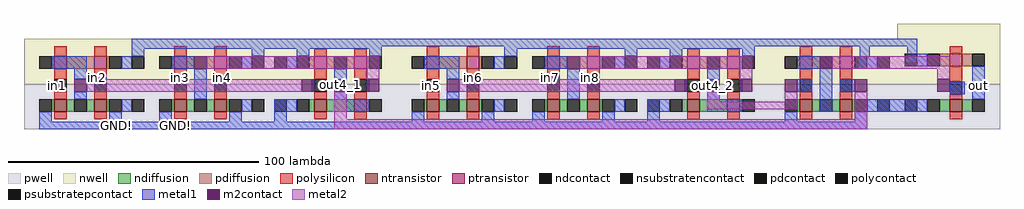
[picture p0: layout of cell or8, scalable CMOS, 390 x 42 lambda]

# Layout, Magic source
magic
tech scmos
<< nwell >>
rect -17 17 332 20
rect -17 15 281 17
rect -17 2 80 15
rect 132 2 229 15
rect 317 8 321 17
<< pwell >>
rect -17 -13 80 2
rect 83 -13 88 -4
rect 132 -12 229 2
rect 101 -13 229 -12
rect 232 -13 237 -4
rect 250 -13 281 -12
rect -17 -16 289 -13
<< ntransistor >>
rect -5 -9 0 -4
rect 11 -9 16 -4
rect 43 -9 48 -4
rect 59 -9 64 -4
rect 144 -9 149 -4
rect 160 -9 165 -4
rect 192 -9 197 -4
rect 208 -9 213 -4
<< ptransistor >>
rect -5 8 0 13
rect 11 8 16 13
rect 43 8 48 13
rect 59 8 64 13
rect 144 8 149 13
rect 160 8 165 13
rect 192 8 197 13
rect 208 8 213 13
<< ndiffusion >>
rect -6 -9 -5 -4
rect 0 -9 3 -4
rect 8 -9 11 -4
rect 16 -9 17 -4
rect 42 -9 43 -4
rect 48 -9 51 -4
rect 56 -9 59 -4
rect 64 -9 65 -4
rect 143 -9 144 -4
rect 149 -9 152 -4
rect 157 -9 160 -4
rect 165 -9 166 -4
rect 191 -9 192 -4
rect 197 -9 200 -4
rect 205 -9 208 -4
rect 213 -9 214 -4
<< pdiffusion >>
rect -6 8 -5 13
rect 0 8 11 13
rect 16 8 17 13
rect 42 8 43 13
rect 48 8 59 13
rect 64 8 65 13
rect 143 8 144 13
rect 149 8 160 13
rect 165 8 166 13
rect 191 8 192 13
rect 197 8 208 13
rect 213 8 214 13
<< ndcontact >>
rect -11 -9 -6 -4
rect 3 -9 8 -4
rect 17 -9 22 -4
rect 37 -9 42 -4
rect 51 -9 56 -4
rect 65 -9 70 -4
rect 138 -9 143 -4
rect 152 -9 157 -4
rect 166 -9 171 -4
rect 186 -9 191 -4
rect 200 -9 205 -4
rect 214 -9 219 -4
<< pdcontact >>
rect -11 8 -6 13
rect 17 8 22 13
rect 37 8 42 13
rect 65 8 70 13
rect 138 8 143 13
rect 166 8 171 13
rect 186 8 191 13
rect 214 8 219 13
<< psubstratepcontact >>
rect 26 -9 31 -4
rect 74 -9 79 -4
rect 175 -9 180 -4
rect 223 -9 228 -4
<< nsubstratencontact >>
rect 26 8 31 13
rect 74 8 79 13
rect 175 8 180 13
rect 223 8 228 13
<< polysilicon >>
rect -5 13 0 17
rect 11 13 16 17
rect 43 13 48 17
rect 59 13 64 17
rect 144 13 149 17
rect 160 13 165 17
rect 192 13 197 17
rect 208 13 213 17
rect -5 4 0 8
rect -5 -4 0 -1
rect 11 4 16 8
rect 11 -4 16 -1
rect 43 4 48 8
rect 43 -4 48 -1
rect 59 4 64 8
rect 59 -4 64 -1
rect 144 4 149 8
rect 144 -4 149 -1
rect 160 4 165 8
rect 160 -4 165 -1
rect 192 4 197 8
rect 192 -4 197 -1
rect 208 4 213 8
rect 208 -4 213 -1
rect -5 -12 0 -9
rect 11 -12 16 -9
rect 43 -12 48 -9
rect 59 -12 64 -9
rect 144 -12 149 -9
rect 160 -12 165 -9
rect 192 -12 197 -9
rect 208 -12 213 -9
<< polycontact >>
rect -5 -1 0 4
rect 11 -1 16 4
rect 43 -1 48 4
rect 59 -1 64 4
rect 144 -1 149 4
rect 160 -1 165 4
rect 192 -1 197 4
rect 208 -1 213 4
<< metal1 >>
rect 26 17 340 20
rect 26 16 96 17
rect 175 16 245 17
rect 26 13 31 16
rect 74 13 79 16
rect 175 13 180 16
rect 223 13 228 16
rect -6 8 8 13
rect 22 8 26 13
rect 42 8 51 13
rect 70 8 74 13
rect 143 8 157 13
rect 171 8 175 13
rect 191 8 200 13
rect 219 8 223 13
rect 317 8 321 17
rect 336 11 340 17
rect 3 4 8 8
rect 11 4 16 5
rect 43 4 48 5
rect 3 -4 8 -1
rect 51 -4 56 8
rect 59 4 64 5
rect 152 4 157 8
rect 160 4 165 5
rect 192 4 197 5
rect 152 -4 157 -1
rect 200 -4 205 8
rect 208 4 213 5
rect 292 -1 298 4
rect 302 0 305 3
rect 309 -1 315 4
rect 353 -2 358 3
rect 363 -1 366 4
rect 22 -9 26 -4
rect 70 -9 74 -4
rect -11 -13 -6 -9
rect 17 -13 22 -9
rect 37 -13 42 -9
rect 65 -13 70 -9
rect 83 -13 88 -4
rect 171 -9 175 -4
rect 219 -9 223 -4
rect 138 -13 143 -9
rect 166 -13 171 -9
rect 186 -13 191 -9
rect 214 -13 219 -9
rect 232 -13 237 -4
rect 301 -9 306 -4
rect 324 -9 342 -4
rect -11 -16 289 -13
<< m2contact >>
rect 51 8 56 13
rect 200 8 205 13
rect 301 8 306 13
rect 3 -1 8 4
rect 94 -1 99 4
rect 107 -1 112 4
rect 120 -1 125 4
rect 152 -1 157 4
rect 243 -1 248 4
rect 256 -1 261 4
rect 269 -1 274 4
rect 287 -1 292 4
rect 315 -1 320 4
rect 348 -1 353 4
<< metal2 >>
rect 56 8 125 13
rect 205 8 274 13
rect 306 8 353 13
rect 120 4 125 8
rect 269 4 274 8
rect 348 4 353 8
rect 8 -1 94 4
rect 157 -1 243 4
rect 107 -12 112 -1
rect 256 -5 261 -1
rect 287 -5 292 -1
rect 256 -8 292 -5
rect 315 -12 320 -1
rect 107 -16 320 -12
use inv  inv_0 ../inv
transform 1 0 355 0 1 4
box -23 -20 18 22
use nand2  nand2_0 ../nand2
transform 1 0 104 0 1 4
box -24 -19 28 15
use nand2  nand2_1
transform 1 0 253 0 1 4
box -24 -19 28 15
use nor2  nor2_0 ../nor2
transform 1 0 298 0 1 4
box -17 -20 34 15
<< labels >>
rlabel polycontact -4 1 -3 2 1 in1
rlabel metal1 12 4 13 5 1 in2
rlabel metal1 45 4 46 5 1 in3
rlabel metal1 62 4 63 5 1 in4
rlabel polycontact 146 1 146 2 1 in5
rlabel metal1 162 4 163 5 1 in6
rlabel metal1 193 4 194 5 1 in7
rlabel metal1 209 4 210 5 1 in8
rlabel metal1 19 -15 21 -14 1 GND!
rlabel metal1 43 -15 44 -14 1 GND!
rlabel m2contact 109 1 110 3 1 out4_1
rlabel m2contact 257 1 259 2 1 out4_2
rlabel metal1 364 1 365 2 1 out
<< end >>

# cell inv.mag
magic
tech scmos
<< nwell >>
rect -23 -2 18 22
<< pwell >>
rect -23 -20 18 -2
<< ntransistor >>
rect -2 -13 3 -8
<< ptransistor >>
rect -2 5 3 10
<< ndiffusion >>
rect -6 -13 -2 -8
rect 3 -13 7 -8
<< pdiffusion >>
rect -6 5 -2 10
rect 3 5 7 10
<< ndcontact >>
rect -11 -13 -6 -8
rect 7 -13 12 -8
<< pdcontact >>
rect -11 5 -6 10
rect 7 5 12 10
<< psubstratepcontact >>
rect -20 -13 -15 -8
<< nsubstratencontact >>
rect -20 5 -15 10
<< polysilicon >>
rect -2 10 3 13
rect -2 -1 3 5
rect -2 -8 3 -6
rect -2 -16 3 -13
<< polycontact >>
rect -2 -6 3 -1
<< metal1 >>
rect -15 5 -11 10
rect 3 -6 4 -1
rect 7 -8 12 5
rect -15 -13 -11 -8
<< labels >>
rlabel polycontact 0 -4 1 -3 1 in
rlabel metal1 9 -4 10 -3 1 out
rlabel nsubstratencontact -18 7 -17 8 1 Vdd!
rlabel psubstratepcontact -18 -11 -17 -10 1 GND!
<< end >>

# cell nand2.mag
magic
tech scmos
<< nwell >>
rect -24 -2 28 15
<< pwell >>
rect -24 -19 28 -2
<< ntransistor >>
rect -5 -13 0 -8
rect 11 -13 16 -8
<< ptransistor >>
rect -5 4 0 9
rect 11 4 16 9
<< ndiffusion >>
rect -7 -13 -5 -8
rect 0 -13 11 -8
rect 16 -13 17 -8
<< pdiffusion >>
rect -7 4 -5 9
rect 0 4 3 9
rect 8 4 11 9
rect 16 4 17 9
<< ndcontact >>
rect -12 -13 -7 -8
rect 17 -13 22 -8
<< pdcontact >>
rect -12 4 -7 9
rect 3 4 8 9
rect 17 4 22 9
<< psubstratepcontact >>
rect -21 -13 -16 -8
<< nsubstratencontact >>
rect -21 4 -16 9
<< polysilicon >>
rect -5 9 0 12
rect 11 9 16 12
rect -5 0 0 4
rect -5 -8 0 -5
rect 11 0 16 4
rect 11 -8 16 -5
rect -5 -16 0 -13
rect 11 -16 16 -13
<< polycontact >>
rect -5 -5 0 0
rect 11 -5 16 0
<< metal1 >>
rect -12 12 22 15
rect -12 9 -7 12
rect 17 9 22 12
rect -16 4 -12 9
rect -6 -5 -5 0
rect 3 -8 8 4
rect 16 -5 17 0
rect -16 -13 -12 -8
rect 3 -13 17 -8
<< labels >>
rlabel metal1 5 -3 6 -2 1 out
rlabel pdcontact -10 6 -9 7 1 Vdd!
rlabel psubstratepcontact -19 -11 -18 -10 1 GND!
rlabel polycontact -3 -3 -2 -2 1 a
rlabel polycontact 13 -3 14 -2 1 b
<< end >>

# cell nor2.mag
magic
tech scmos
<< nwell >>
rect -17 -2 34 15
<< pwell >>
rect -17 -20 34 -2
<< ntransistor >>
rect -5 -13 0 -8
rect 11 -13 16 -8
<< ptransistor >>
rect -5 4 0 9
rect 11 4 16 9
<< ndiffusion >>
rect -6 -13 -5 -8
rect 0 -13 3 -8
rect 8 -13 11 -8
rect 16 -13 17 -8
<< pdiffusion >>
rect -6 4 -5 9
rect 0 4 11 9
rect 16 4 17 9
<< ndcontact >>
rect -11 -13 -6 -8
rect 3 -13 8 -8
rect 17 -13 22 -8
<< pdcontact >>
rect -11 4 -6 9
rect 17 4 22 9
<< psubstratepcontact >>
rect 26 -13 31 -8
<< nsubstratencontact >>
rect 26 4 31 9
<< polysilicon >>
rect -5 9 0 13
rect 11 9 16 13
rect -5 0 0 4
rect -5 -8 0 -5
rect 11 0 16 4
rect 11 -8 16 -5
rect -5 -16 0 -13
rect 11 -16 16 -13
<< polycontact >>
rect -5 -5 0 0
rect 11 -5 16 0
<< metal1 >>
rect -6 4 8 9
rect 22 4 26 9
rect 3 -8 8 4
rect 22 -13 26 -8
rect -11 -17 -6 -13
rect 17 -17 22 -13
rect -11 -20 22 -17
<< labels >>
rlabel polycontact 13 -3 14 -2 1 b
rlabel polycontact -3 -3 -2 -2 1 a
rlabel metal1 5 -5 6 -4 1 out
rlabel psubstratepcontact 28 -11 29 -10 1 GND!
rlabel nsubstratencontact 28 6 29 7 1 Vdd!
<< end >>
